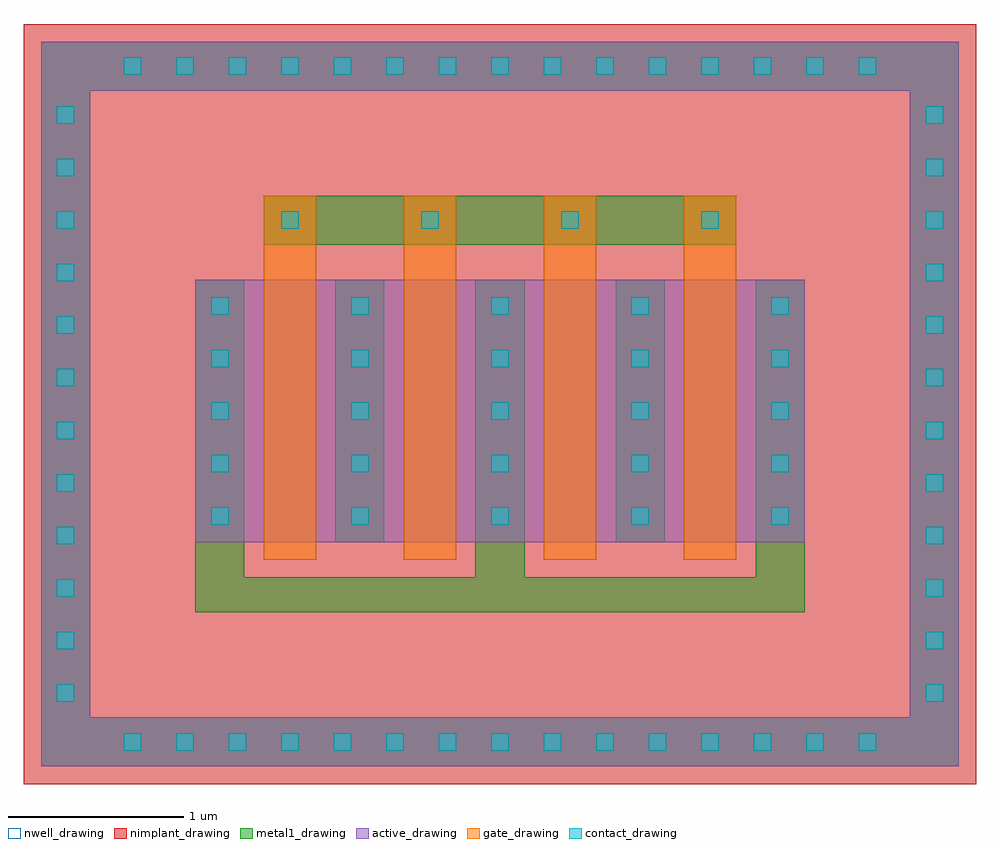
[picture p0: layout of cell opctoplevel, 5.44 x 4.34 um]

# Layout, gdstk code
import gdstk
lib = gdstk.Library(unit=1e-6, precision=1e-09)
def R(c, l, rs):  # rectangles x0, y0, x1, y1
    for r in rs: c.add(gdstk.rectangle(r[:2], r[2:], *l))
def A(c, l, x, y, w, h, nx, ny, dx, dy):  # array of equal rectangles
    R(c, l, [(x+i*dx, y+j*dy, x+i*dx+w, y+j*dy+h) for i in range(nx) for j in range(ny)])
active_drawing = (1, 0)
nwell_drawing = (3, 0)
nimplant_drawing = (5, 0)
gate_drawing = (6, 0)
contact_drawing = (7, 0)
metal1_drawing = (8, 0)

opctoplevel = lib.new_cell('opctoplevel')
A(opctoplevel, active_drawing, 0, 0, 0.28, 1.5, 5, 1, 0.8, 0)
R(opctoplevel, active_drawing, [(-0.88,-1.28,4.36,-1), (-0.88,-1.28,-0.6,2.86), (4.08,-1.28,4.36,2.86), (0,0,3.48,1.5), (-0.88,2.58,4.36,2.86)])
R(opctoplevel, nwell_drawing, [(-0.98,-1.38,4.46,2.96), (-0.1,-0.2,3.58,2.08)])
R(opctoplevel, nimplant_drawing, [(-0.98,-1.38,4.46,-0.9), (-0.98,-1.38,-0.5,2.96), (3.98,-1.38,4.46,2.96), (-0.5,-0.9,3.98,2.48), (-0.98,2.48,4.46,2.96)])
A(opctoplevel, gate_drawing, 0.39, -0.1, 0.3, 2.08, 4, 1, 0.8, 0)
A(opctoplevel, gate_drawing, 0.39, 1.7, 0.3, 0.28, 4, 1, 0.8, 0)
A(opctoplevel, contact_drawing, -0.41, -1.19, 0.1, 0.1, 15, 2, 0.3, 3.86)
A(opctoplevel, contact_drawing, -0.79, -0.91, 0.1, 0.1, 1, 12, 0, 0.3)
A(opctoplevel, contact_drawing, 4.17, -0.91, 0.1, 0.1, 1, 12, 0, 0.3)
A(opctoplevel, contact_drawing, 0.09, 0.1, 0.1, 0.1, 5, 5, 0.8, 0.3)
A(opctoplevel, contact_drawing, 0.49, 1.79, 0.1, 0.1, 4, 1, 0.8, 0)
A(opctoplevel, metal1_drawing, 0, -0.2, 0.28, 0.2, 3, 1, 1.6, 0)
A(opctoplevel, metal1_drawing, 0.39, 1.7, 0.3, 0.28, 4, 1, 0.8, 0)
R(opctoplevel, metal1_drawing, [(-0.88,-1.28,4.36,-1), (-0.88,-1.28,-0.6,2.86), (4.08,-1.28,4.36,2.86), (0,-0.4,3.48,-0.2), (0,0,0.28,1.5), (0,0,0.28,1.5), (0,0,0.28,1.5), (0.8,0,1.08,1.5), (0.8,0,1.08,1.5), (0.8,0,1.08,1.5), (1.6,0,1.88,1.5), (1.6,0,1.88,1.5), (1.6,0,1.88,1.5), (2.4,0,2.68,1.5), (2.4,0,2.68,1.5), (2.4,0,2.68,1.5), (3.2,0,3.48,1.5), (3.2,0,3.48,1.5), (3.2,0,3.48,1.5), (0.39,1.7,3.09,1.98), (-0.88,2.58,4.36,2.86)])

lib.write_gds('opctoplevel.gds')
